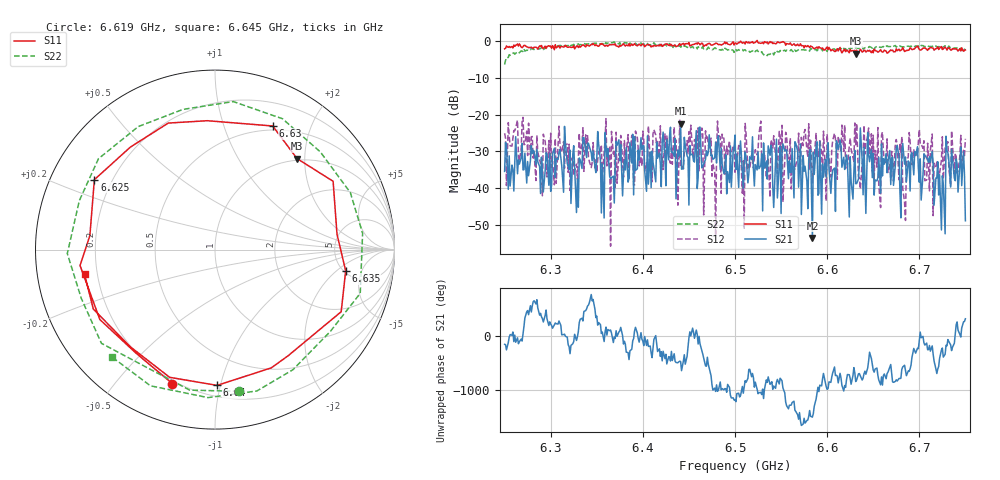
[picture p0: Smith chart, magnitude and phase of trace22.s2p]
# Hz S RI R 50
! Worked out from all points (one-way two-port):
!   401 points, 6.25 GHz to 6.75 GHz, reference 50 ohm
!   highest |S21| = -22.49 dB at 6.441 GHz (marker M1); lowest = -53.7 dB at 6.584 GHz (marker M2)
!   lowest |S11| = -3.3 dB at 6.631 GHz (marker M3), VSWR 5.30, Z = 48.3 + j91.9 ohm
!   |S11| at or under -10 dB: nowhere
!   |S22| runs from -6.3 to -0.1 dB; largest |S21 - S12| = 0.12
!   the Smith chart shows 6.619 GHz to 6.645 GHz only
!   S11 on the Smith chart (normalised r, x): 6.619 GHz: 0.18, -0.71; 6.625 GHz: 0.13, +0.26; 6.63 GHz: 0.45, +1.47; 6.635 GHz: 5.18, -2.69; 6.64 GHz: 0.28, -0.98; 6.645 GHz: 0.15, -0.09
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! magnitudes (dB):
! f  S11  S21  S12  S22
! 6.25 GHz  -2.0  -35.5  -25.1  -6.3
! 6.318 GHz  -1.5  -33.4  -28.0  -1.1
! 6.329 GHz  -1.2  -37.6  -37.6  -0.8
! 6.334 GHz  -1.1  -34.7  -28.0  -0.9
! 6.418 GHz  -1.2  -30.5  -31.2  -0.8
! 6.441 GHz  -1.1  -22.5  -34.3  -1.5
! 6.5 GHz  -0.4  -25.6  -35.7  -2.1
! 6.584 GHz  -1.5  -53.7  -38.6  -2.2
! 6.619 GHz  -2.1  -35.0  -22.8  -1.9
! 6.625 GHz  -2.2  -31.5  -26.4  -1.7
! 6.63 GHz  -2.4  -29.7  -22.3  -1.9
! 6.631 GHz  -3.3  -38.8  -28.2  -1.6
! 6.635 GHz  -2.6  -33.1  -37.2  -1.7
! 6.64 GHz  -2.4  -28.9  -22.9  -2.0
! 6.645 GHz  -2.6  -31.0  -23.6  -1.6
! 6.668 GHz  -2.6  -29.8  -33.2  -1.4
! 6.685 GHz  -2.6  -31.6  -48.9  -1.2
! 6.689 GHz  -2.3  -33.0  -24.9  -1.3
! 6.711 GHz  -2.0  -31.4  -40.8  -1.4
! 6.725 GHz  -2.2  -36.7  -26.0  -1.9
! 6.731 GHz  -1.9  -30.4  -27.4  -1.7
! 6.75 GHz  -2.3  -49.0  -26.6  -2.3
